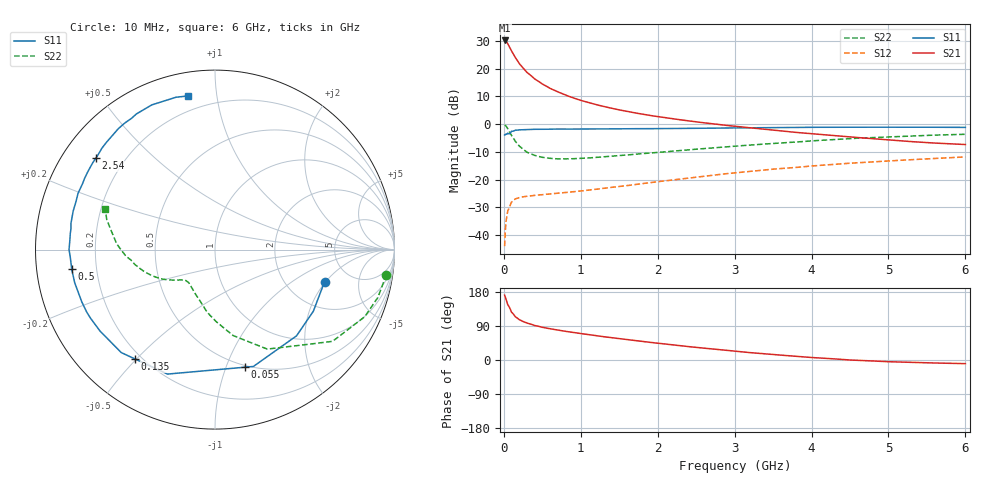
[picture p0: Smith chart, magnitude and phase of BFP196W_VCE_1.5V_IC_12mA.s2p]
! Infineon Technologies  Discrete & RF Semiconductors
! BFP196W
! VCE = 1.5 V,  IC =  12mA
! Common Emitter S-Parameters:  Jan 2016
# GHz  S  MA  R  50
!  f  S11  S21  S12  S22
! GHz  MAG  ANG  MAG  ANG  MAG  ANG  MAG  ANG
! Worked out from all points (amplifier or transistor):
!   210 points, 10 MHz to 6 GHz, reference 50 ohm
!   highest |S21| = 30.1 dB at 10 MHz (marker M1)
!   |S21| within 3 dB of that: start of sweep to 84.45 MHz
!   unconditionally stable (mu >= 1): 1.075 GHz to 3.335 GHz
!   at 185 MHz: K = 0.24, MSG = 24.6 dB, |S12| = -26.7 dB
!   at 1.52 GHz: K = 1.16, MAG = 11.3 dB, |S12| = -22.4 dB
!   at 6 GHz: K = 0.97, MSG = 2.2 dB, |S12| = -11.9 dB
!   S11 on the Smith chart (normalised r, x): 10 MHz: 3.24, -1.95; 55 MHz: 0.48, -1.16; 135 MHz: 0.17, -0.50; 500 MHz: 0.11, -0.07; 2.54 GHz: 0.10, +0.34; 6 GHz: 0.12, +0.83
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0.01  0.6362 -16.3  32.03 171.2  0.0063 81.1  0.965 -8.3
0.02  0.6466 -32.1  31.96 165.6  0.0123 76.8  0.9458 -16.4
0.03  0.6612 -46.6  31 158.9  0.0181 70.9  0.9146 -24.1
0.05  0.6853 -71.8  28.13 146.6  0.0268 59.3  0.8307 -38.0
0.055  0.676 -75.8  27.27 145.1  0.0279 56.9  0.8051 -39.8
0.1  0.7424 -110.9  20.71 126.2  0.0392 42.0  0.6261 -62.3
0.135  0.7548 -126.1  17.11 118.3  0.043 35.7  0.5251 -72.6
0.15  0.7758 -132.3  15.7 113.9  0.0448 33.4  0.4885 -78.2
0.2  0.785 -144.6  12.3 106.5  0.0472 28.8  0.4016 -89.0
0.26  0.7949 -153.9  9.819 100.6  0.0491 26.4  0.3433 -98.3
0.3  0.7973 -158.5  8.525 97.3  0.0499 25.4  0.3108 -103.5
0.4  0.8032 -166.7  6.512 91.1  0.0518 24.6  0.2725 -113.1
0.5  0.8057 -172.2  5.261 86.3  0.0534 25.7  0.2513 -119.9
0.7  0.8133 180.0  3.806 79.0  0.0565 28.8  0.2355 -128.2
1.02  0.8116 171.5  2.619 69.3  0.0626 34.2  0.2413 -135.3
1.42  0.8188 162.9  1.899 58.3  0.0727 40.3  0.2645 -140.2
2.02  0.8278 151.4  1.348 43.9  0.092 46.1  0.3096 -147.0
2.54  0.8365 142.5  1.078 32.4  0.1123 47.6  0.3554 -153.8
3.1  0.8529 133.3  0.883 21.5  0.1365 46.6  0.4081 -162.1
4.1  0.8739 118.8  0.653 5.4  0.1795 41.5  0.5067 -177.3
5.1  0.8751 107.7  0.504 -5.0  0.22 34.2  0.5946 168.7
6  0.8695 100.1  0.427 -9.6  0.2553 27.8  0.6533 159.5
